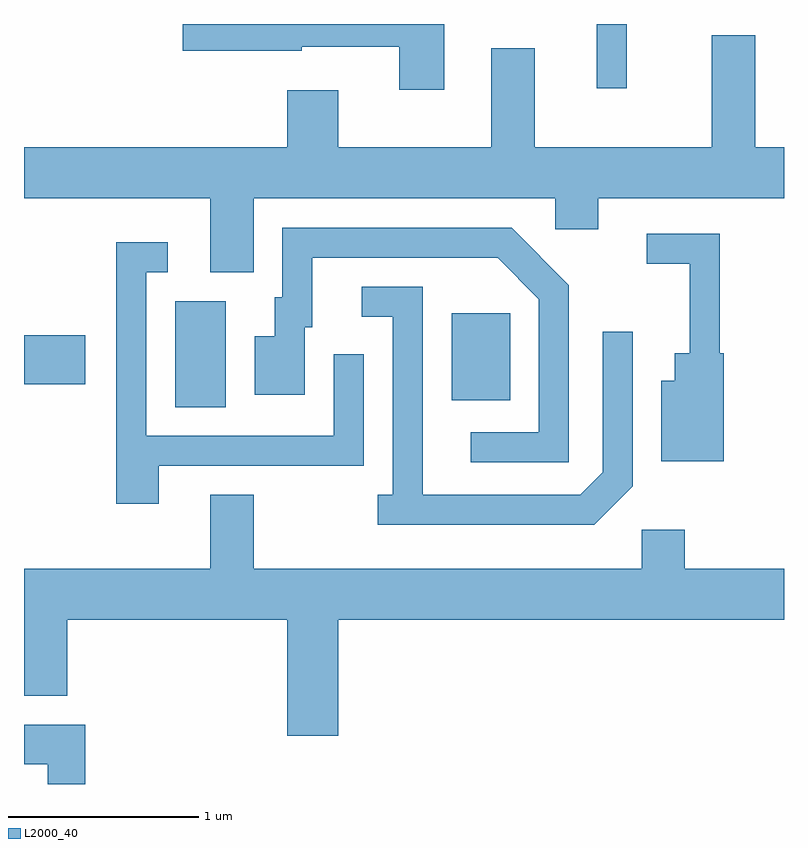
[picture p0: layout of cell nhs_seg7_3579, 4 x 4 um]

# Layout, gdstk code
import gdstk
lib = gdstk.Library(unit=1e-6, precision=1e-09)
def R(c, l, rs):  # rectangles x0, y0, x1, y1
    for r in rs: c.add(gdstk.rectangle(r[:2], r[2:], *l))
def P(c, l, *ps):  # polygons
    for p in ps: c.add(gdstk.Polygon(p, *l))
L2000_40 = (2000, 40)

nhs_seg7_3579 = lib.new_cell('nhs_seg7_3579')
R(nhs_seg7_3579, L2000_40, [(294.406,1804.236,294.674,1804.794), (295.861,1804.271,296.169,1804.729), (293.611,1804.356,293.934,1804.614), (296.626,1805.913,296.784,1806.252)])
P(nhs_seg7_3579, L2000_40, [(295.824,1806.252),(294.446,1806.252),(294.446,1806.111),(295.074,1806.111),(295.074,1806.131),(295.586,1806.131),(295.586,1805.906),(295.824,1805.906)],
  [(294.819,1805.336),(296.406,1805.336),(296.406,1805.171),(296.634,1805.171),(296.634,1805.336),(297.611,1805.336),(297.611,1805.604),(297.459,1805.604),(297.459,1806.194),(297.231,1806.194),(297.231,1805.604),(296.299,1805.604),(296.299,1806.124),(296.071,1806.124),(296.071,1805.604),(295.264,1805.604),(295.264,1805.904),(294.996,1805.904),(294.996,1805.604),(293.611,1805.604),(293.611,1805.336),(294.591,1805.336),(294.591,1804.946),(294.819,1804.946)],
  [(296.479,1804.877),(296.177,1805.179),(294.971,1805.179),(294.971,1804.814),(294.931,1804.814),(294.931,1804.609),(294.826,1804.609),(294.826,1804.301),(295.089,1804.301),(295.089,1804.656),(295.129,1804.656),(295.129,1805.021),(296.104,1805.021),(296.321,1804.804),(296.321,1804.104),(295.963,1804.104),(295.963,1803.946),(296.479,1803.946)],
  [(297.294,1804.519),(297.274,1804.519),(297.274,1805.149),(296.888,1805.149),(296.888,1804.991),(297.116,1804.991),(297.116,1804.519),(297.036,1804.519),(297.036,1804.374),(296.966,1804.374),(296.966,1803.951),(297.294,1803.951)],
  [(294.319,1803.926),(295.399,1803.926),(295.399,1804.513),(295.241,1804.513),(295.241,1804.084),(294.254,1804.084),(294.254,1804.946),(294.368,1804.946),(294.368,1805.104),(294.096,1805.104),(294.096,1803.726),(294.319,1803.726)],
  [(296.814,1803.819),(296.814,1804.633),(296.656,1804.633),(296.656,1803.892),(296.539,1803.774),(295.709,1803.774),(295.709,1804.869),(295.388,1804.869),(295.388,1804.711),(295.551,1804.711),(295.551,1803.774),(295.473,1803.774),(295.473,1803.616),(296.612,1803.616)],
  [(294.819,1803.774),(294.591,1803.774),(294.591,1803.384),(293.611,1803.384),(293.611,1802.716),(293.839,1802.716),(293.839,1803.116),(294.996,1803.116),(294.996,1802.506),(295.264,1802.506),(295.264,1803.116),(297.611,1803.116),(297.611,1803.384),(297.089,1803.384),(297.089,1803.589),(296.861,1803.589),(296.861,1803.384),(294.819,1803.384)],
  [(293.934,1802.564),(293.611,1802.564),(293.611,1802.356),(293.736,1802.356),(293.736,1802.252),(293.934,1802.252)])

lib.write_gds('nhs_seg7_3579.gds')
